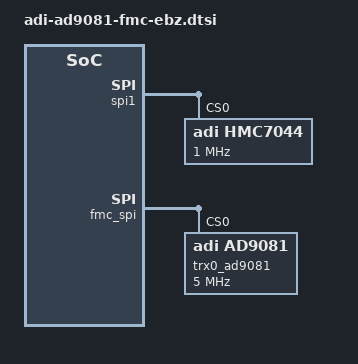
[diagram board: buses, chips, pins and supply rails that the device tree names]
// SPDX-License-Identifier: GPL-2.0
/*
 * Analog Devices AD9081-FMC-EBZ on Xilinx ZynqMP ZCU102 Rev 1.0
 * https://wiki.analog.com/resources/tools-software/linux-drivers/iio-mxfe/ad9081
 * https://wiki.analog.com/resources/eval/user-guides/ad9081_fmca_ebz/ad9081_fmca_ebz_hdl
 *
 * Copyright (C) 2019-2020 Analog Devices Inc.
 */

#include <dt-bindings/iio/frequency/hmc7044.h>
#include <dt-bindings/iio/adc/adi,ad9081.h>

&spi1 {
	status = "okay";

	hmc7044: hmc7044@0 {
		#address-cells = <1>;
		#size-cells = <0>;
		#clock-cells = <1>;
		compatible = "adi,hmc7044";
		reg = <0>;
		spi-max-frequency = <1000000>;

		jesd204-device;
		#jesd204-cells = <2>;
		jesd204-sysref-provider;

		adi,jesd204-max-sysref-frequency-hz = <2000000>; /* 2 MHz */

		/*
		* There are different versions of the AD9081-FMCA-EBZ & AD9082-FMCA-EBZ
		* VCXO = 122.880 MHz, XO = 122.880MHz (AD9081-FMC-EBZ & AD9082-FMC-EBZ)
		* VCXO = 100.000 MHz, XO = 100.000MHz (AD9081-FMC-EBZ-A2 & AD9082-FMC-EBZ-A2)
		* To determine which board is which, read the freqency printed on the VCXO
		* or use the fru-dump utility:
		* #fru-dump -b /sys/bus/i2c/devices/15-0050/eeprom
		*/

		//adi,pll1-clkin-frequencies = <122880000 30720000 0 0>;
		//adi,vcxo-frequency = <122880000>;

		adi,pll1-clkin-frequencies = <100000000 10000000 0 0>;
		adi,vcxo-frequency = <100000000>;

		adi,pll1-loop-bandwidth-hz = <200>;

		adi,pll2-output-frequency = <3000000000>;

		adi,sysref-timer-divider = <1024>;
		adi,pulse-generator-mode = <0>;

		adi,clkin0-buffer-mode  = <0x07>;
		adi,clkin1-buffer-mode  = <0x07>;
		adi,oscin-buffer-mode = <0x15>;

		adi,gpi-controls = <0x00 0x00 0x00 0x00>;
		adi,gpo-controls = <0x37 0x33 0x00 0x00>;

		clock-output-names =
				"hmc7044_out0", "hmc7044_out1", "hmc7044_out2",
				"hmc7044_out3", "hmc7044_out4", "hmc7044_out5",
				"hmc7044_out6", "hmc7044_out7", "hmc7044_out8",
				"hmc7044_out9", "hmc7044_out10", "hmc7044_out11",
				"hmc7044_out12", "hmc7044_out13";

		hmc7044_c0: channel@0 {
			reg = <0>;
			adi,extended-name = "CORE_CLK_RX";
			adi,divider = <8>;	// 375
			adi,driver-mode = <HMC7044_DRIVER_MODE_LVDS>;	// LVDS

		};
		hmc7044_c2: channel@2 {
			reg = <2>;
			adi,extended-name = "DEV_REFCLK";
			adi,divider = <6>;	// 500
			adi,driver-mode = <HMC7044_DRIVER_MODE_LVDS>;	// LVDS
		};
		hmc7044_c3: channel@3 {
			reg = <3>;
			adi,extended-name = "DEV_SYSREF";
			adi,divider = <256>;	// 11.71875
			adi,driver-mode = <HMC7044_DRIVER_MODE_LVDS>;	// LVDS
			adi,jesd204-sysref-chan;
		};

		hmc7044_c6: channel@6 {
			reg = <6>;
			adi,extended-name = "CORE_CLK_TX";
			adi,divider = <8>;	// 375
			adi,driver-mode = <HMC7044_DRIVER_MODE_LVDS>;	// LVDS
		};

		hmc7044_c8: channel@8 {
			reg = <8>;
			adi,extended-name = "FPGA_REFCLK1";
			adi,divider = <4>;	// 750
			adi,driver-mode = <HMC7044_DRIVER_MODE_LVDS>;	// LVDS
		};
		hmc7044_c10: channel@10 {
			reg = <10>;
			adi,extended-name = "CORE_CLK_RX_ALT";
			adi,divider = <8>;	// 375
			adi,driver-mode = <HMC7044_DRIVER_MODE_LVDS>;	// LVDS
		};
		hmc7044_c12: channel@12 {
			reg = <12>;
			adi,extended-name = "FPGA_REFCLK2";
			adi,divider = <4>;	// 750
			adi,driver-mode = <HMC7044_DRIVER_MODE_LVDS>;	// LVDS
		};
		hmc7044_c13: channel@13 {
			reg = <13>;
			adi,extended-name = "FPGA_SYSREF";
			adi,divider = <256>;	// 11.71875
			adi,driver-mode = <HMC7044_DRIVER_MODE_LVDS>;	// LVDS
			adi,jesd204-sysref-chan;
		};
	};
};

&fmc_spi {

	trx0_ad9081: ad9081@0 {
		#address-cells = <1>;
		#size-cells = <0>;
		compatible = "adi,ad9081";
		reg = <0>;
		spi-max-frequency = <5000000>;

		/* Clocks */
		clocks = <&hmc7044 2>;
		clock-names = "dev_clk";

		clock-output-names = "rx_sampl_clk", "tx_sampl_clk";
		#clock-cells = <1>;

		jesd204-device;
		#jesd204-cells = <2>;
		jesd204-top-device = <0>; /* This is the TOP device */
		jesd204-link-ids = <FRAMER_LINK0_RX DEFRAMER_LINK0_TX>;

		jesd204-inputs =
			<&axi_ad9081_core_rx 0 FRAMER_LINK0_RX>,
			<&axi_ad9081_core_tx 0 DEFRAMER_LINK0_TX>;

		adi,tx-dacs {
			#size-cells = <0>;
			#address-cells = <1>;

			adi,dac-frequency-hz = /bits/ 64 <12000000000>;

			adi,main-data-paths {
				#address-cells = <1>;
				#size-cells = <0>;

				adi,interpolation = <8>;

				ad9081_dac0: dac@0 {
					reg = <0>;
					adi,crossbar-select = <&ad9081_tx_fddc_chan0>;
					adi,nco-frequency-shift-hz = /bits/ 64 <100000000>; /* 100 MHz */
				};
				ad9081_dac1: dac@1 {
					reg = <1>;
					adi,crossbar-select = <&ad9081_tx_fddc_chan1>;
					adi,nco-frequency-shift-hz = /bits/ 64 <200000000>; /* 200 MHz */
				};
				ad9081_dac2: dac@2 {
					reg = <2>;
					adi,crossbar-select = <&ad9081_tx_fddc_chan0>, <&ad9081_tx_fddc_chan1>; /* All 4 channels @ dac2 */
					adi,nco-frequency-shift-hz = /bits/ 64 <300000000>;  /* 300 MHz */
				};
				ad9081_dac3: dac@3 {
					reg = <3>;
					adi,crossbar-select = <&ad9081_tx_fddc_chan0>, <&ad9081_tx_fddc_chan1>; /* All 4 channels @ dac2 */
					adi,nco-frequency-shift-hz = /bits/ 64 <400000000>; /* 400 MHz */
				};
			};

			adi,channelizer-paths {
				#address-cells = <1>;
				#size-cells = <0>;
				adi,interpolation = <1>;

				ad9081_tx_fddc_chan0: channel@0 {
					reg = <0>;
					adi,gain = <0>;
					adi,nco-frequency-shift-hz =  /bits/ 64 <50000000>;

				};
				ad9081_tx_fddc_chan1: channel@1 {
					reg = <1>;
					adi,gain = <0>;
					adi,nco-frequency-shift-hz =  /bits/ 64 <100000000>;

				};
			};

			adi,jesd-links {
				#size-cells = <0>;
				#address-cells = <1>;

				ad9081_tx_jesd_l0: link@0 {
					#address-cells = <1>;
					#size-cells = <0>;
					reg = <0>;
					adi,converter-select = <&ad9081_tx_fddc_chan0 0>, <&ad9081_tx_fddc_chan0 1>, /* FIXME not supported */
							       <&ad9081_tx_fddc_chan1 0>, <&ad9081_tx_fddc_chan1 1>;
					adi,logical-lane-mapping = /bits/ 8 <0 2 7 6 1 5 4 3>;

					adi,link-mode = <17>;			/* JESD Quick Configuration Mode */
					adi,subclass = <1>;			/* JESD SUBCLASS 0,1,2 */
					adi,version = <1>;			/* JESD VERSION 0=204A,1=204B,2=204C */
					adi,dual-link = <0>;			/* JESD Dual Link Mode */

					adi,converters-per-device = <4>;	/* JESD M */
					adi,octets-per-frame = <1>;		/* JESD F */

					adi,frames-per-multiframe = <32>;	/* JESD K */
					adi,converter-resolution = <16>;	/* JESD N */
					adi,bits-per-sample = <16>;		/* JESD NP' */
					adi,control-bits-per-sample = <0>;	/* JESD CS */
					adi,lanes-per-device = <8>;		/* JESD L */
					adi,samples-per-converter-per-frame = <1>; /* JESD S */
					adi,high-density = <0>;			/* JESD HD */

					adi,tpl-phase-adjust = <3>;
				};
			};
		};

		adi,rx-adcs {
			#size-cells = <0>;
			#address-cells = <1>;

			adi,adc-frequency-hz = /bits/ 64 <3000000000>;

			adi,main-data-paths {
				#address-cells = <1>;
				#size-cells = <0>;


				ad9081_adc0: adc@0 {
					reg = <0>;
					adi,decimation = <2>;
					adi,nco-frequency-shift-hz =  /bits/ 64 <70000000>;
					//adi,crossbar-select = <&ad9081_rx_fddc_chan0>, <&ad9081_rx_fddc_chan2>; /* Static for now */
				};
				ad9081_adc1: adc@1 {
					reg = <1>;
					adi,decimation = <2>;
					adi,nco-frequency-shift-hz =  /bits/ 64 <150000000>;
					//adi,crossbar-select = <&ad9081_rx_fddc_chan1>, <&ad9081_rx_fddc_chan3>; /* Static for now */
				};
			};

			adi,channelizer-paths {
				#address-cells = <1>;
				#size-cells = <0>;


				ad9081_rx_fddc_chan0: channel@0 {
					reg = <0>;
					adi,decimation = <1>;
					adi,gain = <0>;
					adi,nco-frequency-shift-hz =  /bits/ 64 <30000000>;

				};
				ad9081_rx_fddc_chan1: channel@1 {
					reg = <1>;
					adi,decimation = <1>;
					adi,gain = <0>;
					adi,nco-frequency-shift-hz =  /bits/ 64 <60000000>;

				};
			};

			adi,jesd-links {
				#size-cells = <0>;
				#address-cells = <1>;

				ad9081_rx_jesd_l0: link@0 {
					reg = <0>;
					adi,converter-select = <&ad9081_rx_fddc_chan0 0>, <&ad9081_rx_fddc_chan0 1>,
								<&ad9081_rx_fddc_chan1 0>, <&ad9081_rx_fddc_chan1 1>;
					adi,logical-lane-mapping = /bits/ 8 <2 0 7 6 5 4 3 1>;


					adi,link-mode = <18>;			/* JESD Quick Configuration Mode */
					adi,subclass = <1>;			/* JESD SUBCLASS 0,1,2 */
					adi,version = <1>;			/* JESD VERSION 0=204A,1=204B,2=204C */
					adi,dual-link = <0>;			/* JESD Dual Link Mode */

					adi,converters-per-device = <4>;	/* JESD M */
					adi,octets-per-frame = <1>;		/* JESD F */

					adi,frames-per-multiframe = <32>;	/* JESD K */
					adi,converter-resolution = <16>;	/* JESD N */
					adi,bits-per-sample = <16>;		/* JESD NP' */
					adi,control-bits-per-sample = <0>;	/* JESD CS */
					adi,lanes-per-device = <8>;		/* JESD L */
					adi,samples-per-converter-per-frame = <1>; /* JESD S */
					adi,high-density = <0>;			/* JESD HD */
				};
			};
		};
	};
};

